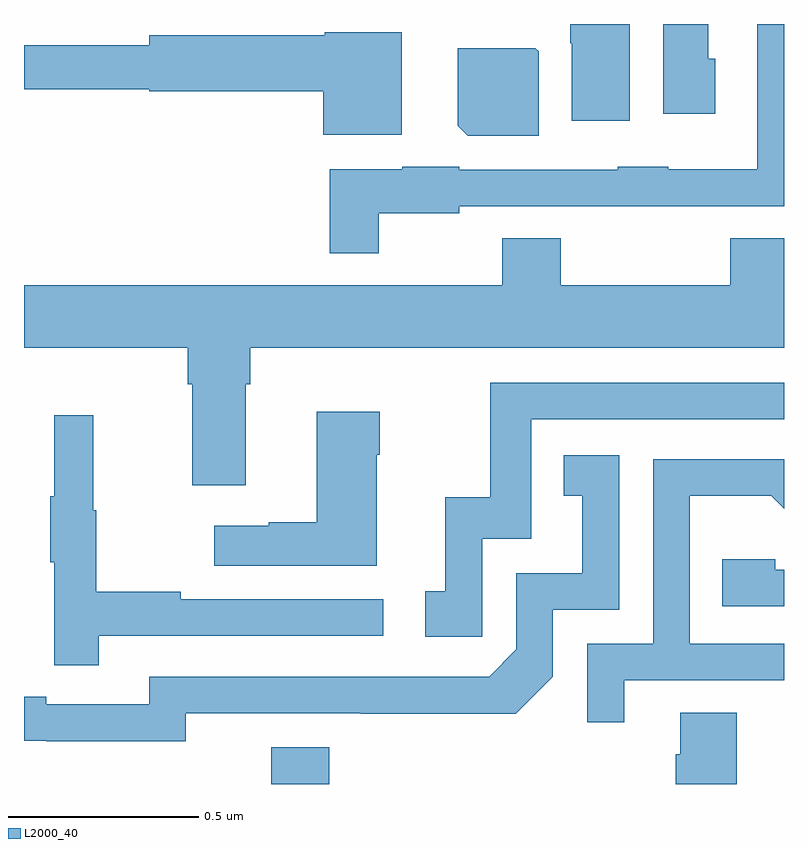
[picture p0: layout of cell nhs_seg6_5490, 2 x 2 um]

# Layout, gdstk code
import gdstk
lib = gdstk.Library(unit=1e-6, precision=1e-09)
def R(c, l, rs):  # rectangles x0, y0, x1, y1
    for r in rs: c.add(gdstk.rectangle(r[:2], r[2:], *l))
def P(c, l, *ps):  # polygons
    for p in ps: c.add(gdstk.Polygon(p, *l))
L2000_40 = (2000, 40)

nhs_seg6_5490 = lib.new_cell('nhs_seg6_5490')
R(nhs_seg6_5490, L2000_40, [(183.65,967.5,183.803,967.597)])
P(nhs_seg6_5490, L2000_40, [(184.594,969.5),(184.438,969.5),(184.438,969.45),(184.442,969.45),(184.442,969.246),(184.594,969.246)],
  [(184.819,969.408),(184.801,969.408),(184.801,969.5),(184.682,969.5),(184.682,969.264),(184.819,969.264)],
  [(183.934,969.002),(184.146,969.002),(184.146,969.021),(184.563,969.021),(184.563,969.02),(184.795,969.02),(184.795,969.021),(185,969.021),(185,969.5),(184.929,969.5),(184.929,969.118),(184.695,969.118),(184.695,969.124),(184.563,969.124),(184.563,969.117),(184.146,969.117),(184.146,969.124),(183.996,969.124),(183.996,969.118),(183.805,969.118),(183.805,968.897),(183.934,968.897)],
  [(183.994,969.478),(183.792,969.478),(183.792,969.47),(183.33,969.47),(183.33,969.444),(183,969.444),(183,969.328),(183.33,969.328),(183.33,969.323),(183.788,969.323),(183.788,969.209),(183.994,969.209)],
  [(184.354,969.428),(184.346,969.436),(184.142,969.436),(184.142,969.232),(184.168,969.206),(184.354,969.206)],
  [(183.583,968.552),(183.596,968.552),(183.596,968.648),(185,968.648),(185,968.936),(184.858,968.936),(184.858,968.812),(184.413,968.812),(184.413,968.936),(184.258,968.936),(184.258,968.812),(183,968.812),(183,968.648),(183.431,968.648),(183.431,968.552),(183.443,968.552),(183.443,968.286),(183.583,968.286)],
  [(184.206,968.145),(184.335,968.145),(184.335,968.46),(185,968.46),(185,968.556),(184.227,968.556),(184.227,968.254),(184.109,968.254),(184.109,968.007),(184.056,968.007),(184.056,967.887),(184.206,967.887)],
  [(183.928,968.366),(183.936,968.366),(183.936,968.479),(183.77,968.479),(183.77,968.189),(183.644,968.189),(183.644,968.179),(183.501,968.179),(183.501,968.075),(183.928,968.075)],
  [(183.197,967.89),(183.946,967.89),(183.946,967.986),(183.413,967.986),(183.413,968.006),(183.19,968.006),(183.19,968.22),(183.182,968.22),(183.182,968.47),(183.08,968.47),(183.08,968.257),(183.069,968.257),(183.069,968.083),(183.08,968.083),(183.08,967.812),(183.197,967.812)],
  [(183.426,967.686),(183.886,967.686),(183.886,967.685),(184.294,967.685),(184.392,967.782),(184.392,967.959),(184.566,967.959),(184.566,968.365),(184.42,968.365),(184.42,968.259),(184.469,968.259),(184.469,968.055),(184.296,968.055),(184.296,967.854),(184.224,967.782),(183.33,967.782),(183.33,967.71),(183.058,967.71),(183.058,967.73),(183,967.73),(183,967.614),(183.058,967.614),(183.058,967.613),(183.426,967.613)],
  [(184.579,967.773),(185,967.773),(185,967.869),(184.752,967.869),(184.752,968.258),(184.966,968.258),(185,968.224),(185,968.355),(184.656,968.355),(184.656,967.869),(184.482,967.869),(184.482,967.662),(184.579,967.662)],
  [(185,968.064),(184.977,968.064),(184.977,968.091),(184.837,968.091),(184.837,967.968),(185,967.968)],
  [(184.875,967.688),(184.727,967.688),(184.727,967.578),(184.715,967.578),(184.715,967.5),(184.875,967.5)])

lib.write_gds('nhs_seg6_5490.gds')
